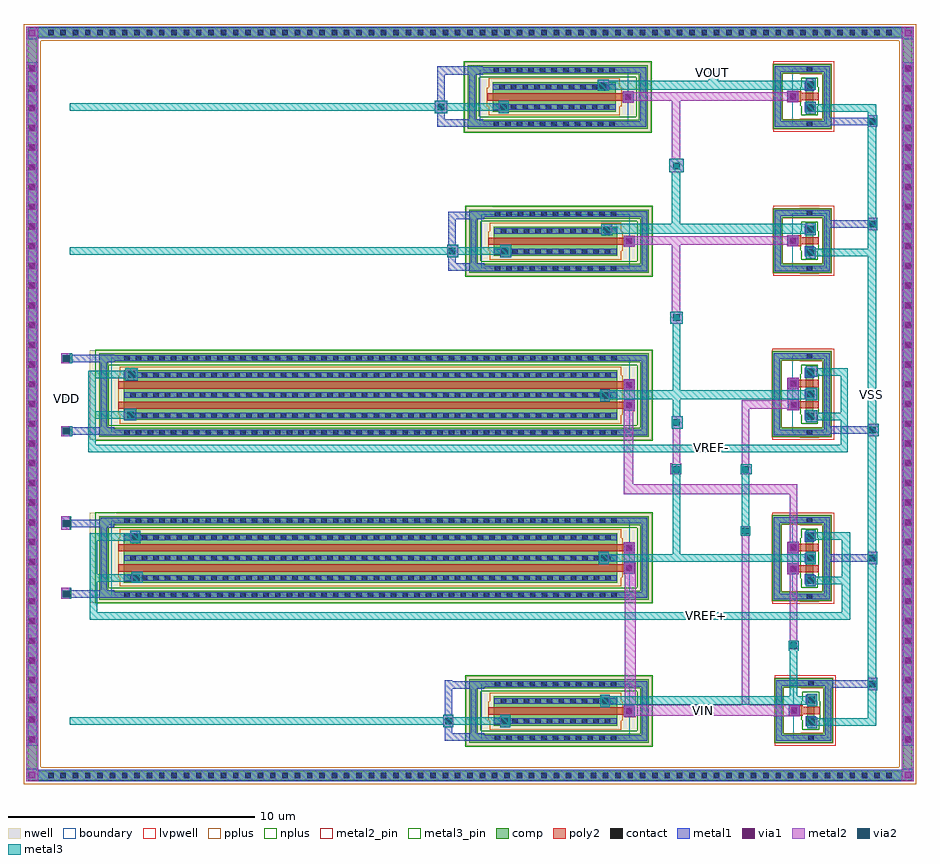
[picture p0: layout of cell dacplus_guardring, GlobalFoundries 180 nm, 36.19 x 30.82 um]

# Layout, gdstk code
import gdstk
lib = gdstk.Library(unit=1e-6, precision=5e-09)
def R(c, l, rs):  # rectangles x0, y0, x1, y1
    for r in rs: c.add(gdstk.rectangle(r[:2], r[2:], *l))
def A(c, l, x, y, w, h, nx, ny, dx, dy):  # array of equal rectangles
    R(c, l, [(x+i*dx, y+j*dy, x+i*dx+w, y+j*dy+h) for i in range(nx) for j in range(ny)])
def P(c, l, *ps):  # polygons
    for p in ps: c.add(gdstk.Polygon(p, *l))
boundary = (0, 0)
nwell = (21, 0)
comp = (22, 0)
poly2 = (30, 0)
pplus = (31, 0)
nplus = (32, 0)
contact = (33, 0)
metal1 = (34, 0)
via1 = (35, 0)
metal2 = (36, 0)
metal2_pin = (36, 10)
via2 = (38, 0)
metal3 = (42, 0)
metal3_pin = (42, 10)
lvpwell = (204, 0)

dacplus_guardring = lib.new_cell('dacplus_guardring')
R(dacplus_guardring, boundary, [(564.305,61.465,570.325,63.665), (576.965,61.465,578.375,63.705), (576.915,67.215,578.325,70.315), (549.305,67.265,570.325,70.285), (549.305,73.865,570.325,76.885), (576.915,73.865,578.325,76.965), (564.305,80.515,570.325,82.715), (576.915,80.515,578.325,82.755), (564.255,86.365,570.275,88.565), (576.915,86.365,578.325,88.605)])
R(dacplus_guardring, nwell, [(563.71,61.16,564.75,63.975), (563.69,61.165,563.71,63.965), (564.75,61.165,571.225,63.965), (548.435,66.965,549.505,70.595), (549.505,66.965,571.225,70.585), (548.435,73.565,549.505,77.195), (549.505,73.565,571.225,77.185), (563.71,80.21,564.75,83.025), (563.69,80.215,563.71,83.015), (564.75,80.215,571.225,83.015), (563.66,86.06,564.7,88.875), (563.64,86.065,563.66,88.865), (564.7,86.065,571.175,88.865)])
A(dacplus_guardring, comp, 546.67, 59.765, 0.36, 0.36, 69, 2, 0.5, 30.14)
A(dacplus_guardring, comp, 545.915, 61.235, 0.36, 0.36, 1, 35, 0, 0.8)
A(dacplus_guardring, comp, 581.425, 61.235, 0.36, 0.36, 1, 35, 0, 0.8)
A(dacplus_guardring, comp, 577.44, 67.725, 0.03, 0.36, 1, 3, 0, 0.86)
A(dacplus_guardring, comp, 577.77, 67.725, 0.03, 0.36, 1, 3, 0, 0.86)
A(dacplus_guardring, comp, 577.44, 74.375, 0.03, 0.36, 1, 3, 0, 0.86)
A(dacplus_guardring, comp, 577.77, 74.375, 0.03, 0.36, 1, 3, 0, 0.86)
R(dacplus_guardring, comp, [(546.67,59.765,581.03,60.125), (545.915,61.235,546.275,88.795), (581.425,61.235,581.785,88.795), (563.81,61.285,564.17,63.845), (564.17,61.285,570.745,61.645), (570.745,61.285,571.105,63.845), (576.2,61.285,576.56,63.885), (576.56,61.285,578.195,61.645), (578.195,61.285,578.555,63.885), (564.815,61.975,569.815,63.155), (577.49,61.975,577.52,62.335), (577.52,61.975,577.82,63.195), (577.82,61.975,577.85,62.335), (577.49,62.835,577.52,63.195), (577.82,62.835,577.85,63.195), (564.17,63.485,570.745,63.845), (576.56,63.525,578.195,63.885), (576.11,67.035,576.47,70.495), (576.47,67.035,578.145,67.395), (578.145,67.035,578.505,70.495), (548.815,67.085,549.175,70.465), (549.175,67.085,570.745,67.445), (570.745,67.085,571.105,70.465), (577.47,67.725,577.77,69.805), (549.815,67.775,569.815,69.775), (549.175,70.105,570.745,70.465), (576.47,70.135,578.145,70.495), (548.815,73.685,549.175,77.065), (549.175,73.685,570.745,74.045), (570.745,73.685,571.105,77.065), (576.11,73.685,576.47,77.145), (576.47,73.685,578.145,74.045), (578.145,73.685,578.505,77.145), (549.815,74.375,569.815,76.375), (577.47,74.375,577.77,76.455), (549.175,76.705,570.745,77.065), (576.47,76.785,578.145,77.145), (563.81,80.335,564.17,82.895), (564.17,80.335,570.745,80.695), (570.745,80.335,571.105,82.895), (576.15,80.335,576.51,82.935), (576.51,80.335,578.145,80.695), (578.145,80.335,578.505,82.935), (564.815,81.025,569.815,82.205), (577.44,81.025,577.47,81.385), (577.47,81.025,577.77,82.245), (577.77,81.025,577.8,81.385), (577.44,81.885,577.47,82.245), (577.77,81.885,577.8,82.245), (564.17,82.535,570.745,82.895), (576.51,82.575,578.145,82.935), (563.76,86.185,564.12,88.745), (564.12,86.185,570.695,86.545), (570.695,86.185,571.055,88.745), (576.15,86.185,576.51,88.785), (576.51,86.185,578.145,86.545), (578.145,86.185,578.505,88.785), (564.765,86.875,569.765,88.055), (577.44,86.875,577.47,87.235), (577.47,86.875,577.77,88.095), (577.77,86.875,577.8,87.235), (577.44,87.735,577.47,88.095), (577.77,87.735,577.8,88.095), (564.12,88.385,570.695,88.745), (576.51,88.425,578.145,88.785), (546.67,89.905,581.03,90.265)])
P(dacplus_guardring, comp, [(545.915,59.765),(545.915,90.265),(581.785,90.265),(581.785,59.765),(581.425,59.765),(581.425,60.125),(581.425,89.905),(546.275,89.905),(546.275,60.125),(581.425,60.125),(581.425,59.765)])
R(dacplus_guardring, poly2, [(570.085,62.34,570.535,62.79), (576.78,62.37,577.335,62.8), (564.595,62.415,570.085,62.715), (577.335,62.435,578.04,62.735), (576.74,68.11,577.19,68.56), (570.08,68.14,570.53,68.59), (577.19,68.185,577.99,68.485), (549.595,68.215,570.08,68.515), (570.08,68.955,570.53,69.405), (576.74,68.97,577.19,69.42), (549.595,69.035,570.08,69.335), (577.19,69.045,577.99,69.345), (570.08,74.74,570.53,75.19), (576.74,74.76,577.19,75.21), (549.595,74.815,570.08,75.115), (577.19,74.835,577.99,75.135), (570.08,75.555,570.53,76.005), (576.74,75.62,577.19,76.07), (549.595,75.635,570.08,75.935), (577.19,75.695,577.99,75.995), (570.085,81.39,570.535,81.84), (576.73,81.42,577.285,81.85), (564.595,81.465,570.085,81.765), (577.285,81.485,577.99,81.785), (570.035,87.24,570.485,87.69), (576.73,87.27,577.285,87.7), (564.545,87.315,570.035,87.615), (577.285,87.335,577.99,87.635)])
R(dacplus_guardring, pplus, [(577.27,61.255,578.07,61.675), (576.18,61.265,576.58,63.905), (576.58,61.265,577.27,61.665), (578.07,61.265,578.175,61.675), (578.175,61.265,578.575,63.905), (564.655,61.815,569.975,63.315), (564.585,62.185,564.655,62.945), (569.975,62.185,570.045,62.945), (577.27,63.495,578.07,63.915), (578.07,63.495,578.175,63.905), (576.58,63.505,577.27,63.905), (577.22,67.005,578.02,67.425), (576.09,67.015,576.49,70.515), (576.49,67.015,577.22,67.415), (578.02,67.015,578.125,67.425), (578.125,67.015,578.525,70.515), (549.655,67.615,569.975,69.935), (549.585,67.985,549.655,69.565), (569.975,67.985,570.045,69.565), (577.22,70.105,578.02,70.525), (578.02,70.105,578.125,70.515), (576.49,70.115,577.22,70.515), (577.22,73.655,578.02,74.075), (576.09,73.665,576.49,77.165), (576.49,73.665,577.22,74.065), (578.02,73.665,578.125,74.075), (578.125,73.665,578.525,77.165), (549.655,74.215,569.975,76.535), (549.585,74.585,549.655,76.165), (569.975,74.585,570.045,76.165), (577.22,76.755,578.02,77.175), (578.02,76.755,578.125,77.165), (576.49,76.765,577.22,77.165), (577.22,80.305,578.02,80.725), (576.13,80.315,576.53,82.955), (576.53,80.315,577.22,80.715), (578.02,80.315,578.125,80.725), (578.125,80.315,578.525,82.955), (564.655,80.865,569.975,82.365), (564.585,81.235,564.655,81.995), (569.975,81.235,570.045,81.995), (577.22,82.545,578.02,82.965), (578.02,82.545,578.125,82.955), (576.53,82.555,577.22,82.955), (577.22,86.155,578.02,86.575), (576.13,86.165,576.53,88.805), (576.53,86.165,577.22,86.565), (578.02,86.165,578.125,86.575), (578.125,86.165,578.525,88.805), (564.605,86.715,569.925,88.215), (564.535,87.085,564.605,87.845), (569.925,87.085,569.995,87.845), (577.22,88.395,578.02,88.815), (578.02,88.395,578.125,88.805), (576.53,88.405,577.22,88.805)])
P(dacplus_guardring, pplus, [(545.755,59.605),(545.755,90.425),(581.945,90.425),(581.945,59.605),(581.265,59.605),(581.265,60.285),(581.265,89.745),(546.435,89.745),(546.435,60.285),(581.265,60.285),(581.265,59.605)])
R(dacplus_guardring, nplus, [(563.65,61.125,564.28,64.005), (564.28,61.125,570.635,61.755), (570.635,61.125,571.265,64.005), (577.33,61.815,578.01,63.355), (577.29,62.205,577.33,62.965), (578.01,62.205,578.05,62.965), (564.28,63.375,570.635,64.005), (548.655,66.925,549.195,70.625), (549.195,66.925,570.635,67.555), (570.635,66.925,571.265,70.625), (577.28,67.565,577.96,69.965), (577.24,67.955,577.28,69.575), (577.96,67.955,578,69.575), (549.195,69.995,570.635,70.625), (548.655,73.525,549.195,77.225), (549.195,73.525,570.635,74.155), (570.635,73.525,571.265,77.225), (577.28,74.215,577.96,76.615), (577.24,74.605,577.28,76.225), (577.96,74.605,578,76.225), (549.195,76.595,570.635,77.225), (563.65,80.175,564.28,83.055), (564.28,80.175,570.635,80.805), (570.635,80.175,571.265,83.055), (577.28,80.865,577.96,82.405), (577.24,81.255,577.28,82.015), (577.96,81.255,578,82.015), (564.28,82.425,570.635,83.055), (563.6,86.025,564.23,88.905), (564.23,86.025,570.585,86.655), (570.585,86.025,571.215,88.905), (577.28,86.715,577.96,88.255), (577.24,87.105,577.28,87.865), (577.96,87.105,578,87.865), (564.23,88.275,570.585,88.905)])
A(dacplus_guardring, contact, 546.74, 59.835, 0.22, 0.22, 69, 2, 0.5, 30.14)
A(dacplus_guardring, contact, 545.985, 61.305, 0.22, 0.22, 1, 35, 0, 0.8)
A(dacplus_guardring, contact, 581.495, 61.305, 0.22, 0.22, 1, 35, 0, 0.8)
A(dacplus_guardring, contact, 564.855, 61.355, 0.22, 0.22, 11, 2, 0.47, 2.2)
A(dacplus_guardring, contact, 565.09, 62.045, 0.22, 0.22, 10, 2, 0.47, 0.82)
A(dacplus_guardring, contact, 549.835, 67.155, 0.22, 0.22, 43, 2, 0.47, 3.02)
A(dacplus_guardring, contact, 577.51, 67.795, 0.22, 0.22, 1, 3, 0, 0.86)
A(dacplus_guardring, contact, 550.07, 67.845, 0.22, 0.22, 42, 3, 0.47, 0.82)
A(dacplus_guardring, contact, 549.835, 73.755, 0.22, 0.22, 43, 2, 0.47, 3.02)
A(dacplus_guardring, contact, 550.07, 74.445, 0.22, 0.22, 42, 3, 0.47, 0.82)
A(dacplus_guardring, contact, 577.51, 74.445, 0.22, 0.22, 1, 3, 0, 0.86)
A(dacplus_guardring, contact, 564.855, 80.405, 0.22, 0.22, 11, 2, 0.47, 2.2)
A(dacplus_guardring, contact, 565.09, 81.095, 0.22, 0.22, 10, 2, 0.47, 0.82)
A(dacplus_guardring, contact, 564.805, 86.255, 0.22, 0.22, 11, 2, 0.47, 2.2)
A(dacplus_guardring, contact, 565.04, 86.945, 0.22, 0.22, 10, 2, 0.47, 0.82)
R(dacplus_guardring, contact, [(577.56,61.355,577.78,61.575), (577.56,62.045,577.78,62.265), (570.19,62.455,570.41,62.675), (576.89,62.475,577.11,62.695), (577.56,62.905,577.78,63.125), (577.56,63.595,577.78,63.815), (577.51,67.105,577.73,67.325), (576.865,68.225,577.085,68.445), (570.19,68.255,570.41,68.475), (570.19,69.07,570.41,69.29), (576.865,69.085,577.085,69.305), (577.51,70.205,577.73,70.425), (577.51,73.755,577.73,73.975), (570.19,74.855,570.41,75.075), (576.865,74.875,577.085,75.095), (570.19,75.67,570.41,75.89), (576.865,75.735,577.085,75.955), (577.51,76.855,577.73,77.075), (577.51,80.405,577.73,80.625), (577.51,81.095,577.73,81.315), (570.19,81.505,570.41,81.725), (576.84,81.525,577.06,81.745), (577.51,81.955,577.73,82.175), (577.51,82.645,577.73,82.865), (577.51,86.255,577.73,86.475), (577.51,86.945,577.73,87.165), (570.14,87.355,570.36,87.575), (576.84,87.375,577.06,87.595), (577.51,87.805,577.73,88.025), (577.51,88.495,577.73,88.715)])
A(dacplus_guardring, metal1, 546.62, 59.715, 0.46, 0.46, 69, 2, 0.5, 30.14)
A(dacplus_guardring, metal1, 545.845, 61.165, 0.5, 0.5, 1, 35, 0, 0.8)
A(dacplus_guardring, metal1, 581.355, 61.165, 0.5, 0.5, 1, 35, 0, 0.8)
A(dacplus_guardring, metal1, 577.42, 67.705, 0.4, 0.4, 1, 3, 0, 0.86)
A(dacplus_guardring, metal1, 549.825, 67.84, 19.98, 0.23, 1, 3, 0, 0.82)
A(dacplus_guardring, metal1, 577.42, 74.355, 0.4, 0.4, 1, 3, 0, 0.86)
A(dacplus_guardring, metal1, 549.825, 74.44, 19.98, 0.23, 1, 3, 0, 0.82)
R(dacplus_guardring, metal1, [(545.845,59.715,546.345,60.215), (545.845,59.715,546.345,60.215), (545.845,59.715,546.275,60.175), (546.275,59.715,581.425,60.175), (581.355,59.715,581.855,60.215), (581.355,59.715,581.855,60.215), (581.425,59.715,581.855,60.175), (545.845,61.165,546.345,88.865), (581.355,61.165,581.855,88.865), (563.875,61.35,564.105,63.78), (564.105,61.35,570.81,61.58), (570.81,61.35,571.04,63.78), (576.265,61.35,576.495,63.82), (576.495,61.35,578.26,61.58), (578.26,61.35,578.49,63.82), (562.825,61.365,563.125,63.815), (563.125,61.365,564.425,61.665), (577.525,61.865,577.925,62.315), (562.775,61.915,562.825,62.415), (563.125,61.915,563.175,62.415), (565.075,61.915,565.475,62.415), (577.47,61.955,577.87,62.355), (564.825,62.04,569.805,62.27), (570.085,62.34,570.535,62.79), (576.77,62.36,577.22,62.81), (570.15,62.365,570.45,62.765), (576.85,62.385,577.15,62.785), (569.125,62.715,569.525,63.215), (577.525,62.765,577.925,63.265), (577.47,62.815,577.87,63.215), (564.825,62.86,569.805,63.09), (579.975,63.415,580.375,63.915), (563.125,63.465,564.425,63.765), (578.375,63.515,579.975,63.815), (564.105,63.55,570.81,63.78), (576.495,63.59,578.26,63.82), (576.175,67.1,576.405,70.43), (576.405,67.1,578.21,67.33), (578.21,67.1,578.44,70.43), (547.275,67.115,547.675,67.565), (548.88,67.15,549.11,70.4), (549.11,67.15,570.81,67.38), (570.81,67.15,571.04,70.4), (547.675,67.165,549.425,67.465), (577.475,67.615,577.875,68.065), (550.125,67.765,550.575,68.215), (576.74,68.11,577.19,68.56), (576.825,68.135,577.125,68.535), (570.08,68.14,570.53,68.59), (570.15,68.165,570.45,68.565), (569.075,68.515,569.475,69.015), (577.475,68.515,577.875,69.015), (579.975,68.515,580.375,69.015), (578.275,68.615,579.975,68.915), (570.08,68.955,570.53,69.405), (576.74,68.97,577.19,69.42), (570.15,68.98,570.45,69.38), (576.825,68.995,577.125,69.395), (550.075,69.365,550.475,69.865), (577.475,69.465,577.875,69.915), (547.275,69.915,547.675,70.465), (547.675,70.015,549.425,70.315), (549.11,70.17,570.81,70.4), (576.405,70.2,578.21,70.43), (547.275,73.715,547.725,74.115), (579.975,73.715,580.425,74.215), (548.88,73.75,549.11,77), (549.11,73.75,570.81,73.98), (570.81,73.75,571.04,77), (576.175,73.75,576.405,77.08), (576.405,73.75,578.21,73.98), (578.21,73.75,578.44,77.08), (547.725,73.765,549.425,74.065), (578.275,73.815,579.975,74.115), (577.475,74.265,577.925,74.765), (549.825,74.365,550.325,74.815), (570.08,74.74,570.53,75.19), (576.74,74.76,577.19,75.21), (570.15,74.765,570.45,75.165), (576.825,74.785,577.13,75.185), (569.125,75.115,569.525,75.615), (577.475,75.165,577.925,75.665), (570.08,75.555,570.53,76.005), (570.15,75.58,570.45,75.98), (576.74,75.62,577.19,76.07), (576.82,75.645,577.125,76.045), (549.875,75.965,550.375,76.465), (577.475,76.115,577.925,76.565), (547.275,76.665,547.725,77.065), (547.725,76.715,549.425,77.015), (549.11,76.77,570.81,77), (576.405,76.85,578.21,77.08), (563.875,80.4,564.105,82.83), (564.105,80.4,570.81,80.63), (570.81,80.4,571.04,82.83), (576.215,80.4,576.445,82.87), (576.445,80.4,578.21,80.63), (578.21,80.4,578.44,82.87), (562.975,80.415,563.275,82.815), (563.275,80.415,564.425,80.715), (577.475,80.915,577.875,81.365), (562.925,80.965,562.975,81.465), (563.275,80.965,563.375,81.465), (565.075,80.965,565.525,81.465), (577.42,81.005,577.82,81.405), (564.825,81.09,569.805,81.32), (570.085,81.39,570.535,81.84), (576.72,81.41,577.17,81.86), (570.15,81.415,570.45,81.815), (576.8,81.435,577.1,81.835), (569.175,81.865,569.625,82.315), (577.42,81.865,577.82,82.265), (577.475,81.865,577.875,82.365), (564.825,81.91,569.805,82.14), (579.975,82.065,580.375,82.565), (578.225,82.165,579.975,82.465), (563.275,82.515,564.425,82.815), (564.105,82.6,570.81,82.83), (576.445,82.64,578.21,82.87), (563.825,86.25,564.055,88.68), (564.055,86.25,570.76,86.48), (570.76,86.25,570.99,88.68), (576.215,86.25,576.445,88.72), (576.445,86.25,578.21,86.48), (578.21,86.25,578.44,88.72), (562.525,86.265,562.825,88.715), (562.825,86.265,564.375,86.565), (579.975,86.265,580.375,86.715), (578.325,86.315,579.975,86.615), (577.475,86.765,577.875,87.265), (562.425,86.815,562.525,87.315), (562.825,86.815,562.925,87.315), (565.025,86.815,565.425,87.315), (577.42,86.855,577.82,87.255), (564.775,86.94,569.755,87.17), (570.035,87.24,570.485,87.69), (576.72,87.26,577.17,87.71), (570.1,87.265,570.4,87.665), (576.8,87.285,577.105,87.685), (569.025,87.715,569.475,88.165), (577.42,87.715,577.82,88.115), (564.775,87.76,569.755,87.99), (577.475,87.765,577.875,88.215), (562.825,88.365,564.375,88.715), (564.055,88.45,570.76,88.68), (576.445,88.49,578.21,88.72), (545.845,89.815,546.345,90.315), (545.845,89.815,546.345,90.315), (581.355,89.815,581.855,90.315), (581.355,89.815,581.855,90.315), (545.845,89.855,546.275,90.315), (546.275,89.855,581.425,90.315), (581.425,89.855,581.855,90.315)])
A(dacplus_guardring, via1, 545.965, 61.285, 0.26, 0.26, 1, 35, 0, 0.8)
A(dacplus_guardring, via1, 581.475, 61.285, 0.26, 0.26, 1, 35, 0, 0.8)
A(dacplus_guardring, via1, 577.545, 67.735, 0.26, 0.26, 1, 3, 0, 0.9)
A(dacplus_guardring, via1, 577.545, 74.385, 0.26, 0.26, 1, 3, 0, 0.9)
R(dacplus_guardring, via1, [(545.965,59.835,546.225,60.095), (581.475,59.835,581.735,60.095), (577.595,61.985,577.855,62.245), (562.845,62.035,563.105,62.295), (565.145,62.035,565.405,62.295), (570.17,62.435,570.43,62.695), (576.87,62.455,577.13,62.715), (569.195,62.835,569.455,63.095), (577.595,62.885,577.855,63.145), (580.045,63.535,580.305,63.795), (547.345,67.185,547.605,67.445), (550.195,67.835,550.455,68.095), (576.845,68.205,577.105,68.465), (570.17,68.235,570.43,68.495), (569.145,68.635,569.405,68.895), (580.045,68.635,580.305,68.895), (570.17,69.05,570.43,69.31), (576.845,69.065,577.105,69.325), (550.145,69.485,550.405,69.745), (547.345,70.035,547.605,70.295), (547.345,73.785,547.605,74.045), (580.045,73.835,580.305,74.095), (549.945,74.435,550.205,74.695), (570.17,74.835,570.43,75.095), (576.85,74.855,577.11,75.115), (569.195,75.235,569.455,75.495), (570.17,75.65,570.43,75.91), (576.845,75.715,577.105,75.975), (549.995,76.085,550.255,76.345), (547.345,76.735,547.605,76.995), (577.545,81.035,577.805,81.295), (562.995,81.085,563.255,81.345), (565.145,81.085,565.405,81.345), (570.17,81.485,570.43,81.745), (576.82,81.505,577.08,81.765), (569.245,81.935,569.505,82.195), (577.545,81.985,577.805,82.245), (580.045,82.185,580.305,82.445), (580.045,86.335,580.305,86.595), (577.545,86.885,577.805,87.145), (562.545,86.935,562.805,87.195), (565.095,86.935,565.355,87.195), (570.12,87.335,570.38,87.595), (576.825,87.355,577.085,87.615), (569.095,87.785,569.355,88.045), (577.545,87.835,577.805,88.095), (545.965,89.935,546.225,90.195), (581.475,89.935,581.735,90.195)])
A(dacplus_guardring, metal2, 545.845, 61.165, 0.5, 0.5, 1, 35, 0, 0.8)
A(dacplus_guardring, metal2, 581.355, 61.165, 0.5, 0.5, 1, 35, 0, 0.8)
R(dacplus_guardring, metal2, [(545.845,59.715,546.345,60.215), (545.845,59.715,546.345,60.215), (545.845,59.715,546.345,60.125), (581.355,59.715,581.855,60.215), (581.355,59.715,581.855,60.215), (581.355,59.715,581.855,60.125), (545.845,60.125,546.345,89.905), (581.355,60.125,581.855,89.905), (577.525,61.865,577.925,62.315), (562.775,61.915,563.175,62.415), (565.075,61.915,565.475,62.415), (570.125,62.315,570.525,69.415), (570.525,62.315,570.575,68.615), (570.085,62.34,570.125,62.815), (576.165,62.36,576.225,62.815), (576.225,62.36,577.22,62.81), (570.075,62.365,570.085,62.815), (570.575,62.365,574.875,62.815), (574.875,62.365,575.175,70.065), (575.175,62.365,576.165,62.815), (569.125,62.715,569.525,63.215), (577.525,62.765,577.925,63.265), (579.975,63.415,580.375,63.915), (576.775,65.065,576.825,65.365), (576.825,65.065,577.125,71.765), (577.125,65.065,577.175,65.365), (547.275,67.115,547.675,67.565), (577.475,67.615,577.875,68.065), (550.125,67.765,550.575,68.215), (576.74,68.11,576.825,69.42), (577.125,68.11,577.175,69.42), (577.175,68.11,577.19,68.56), (570.075,68.115,570.125,69.415), (576.725,68.115,576.74,69.415), (569.075,68.515,569.475,69.015), (577.475,68.515,577.875,69.015), (579.975,68.515,580.375,69.015), (570.525,68.955,570.53,69.405), (577.175,68.97,577.19,69.42), (550.075,69.365,550.475,69.865), (577.475,69.465,577.875,69.915), (574.825,69.665,574.875,70.065), (575.175,69.665,575.225,70.065), (547.275,69.915,547.675,70.465), (570.075,71.365,570.475,76.015), (570.475,71.365,576.825,71.765), (571.975,72.165,572.075,72.615), (572.075,72.165,572.375,74.515), (572.375,72.165,572.425,72.615), (574.825,72.165,574.875,72.565), (574.875,72.165,575.175,75.165), (575.175,72.165,575.275,72.565), (547.275,73.715,547.725,74.115), (579.975,73.715,580.425,74.215), (572.025,74.015,572.075,74.515), (572.375,74.015,572.475,74.515), (577.475,74.265,577.925,74.765), (549.825,74.365,550.325,74.815), (570.475,74.715,570.525,76.015), (570.525,74.74,570.53,75.19), (576.74,74.76,577.175,76.075), (577.175,74.76,577.195,75.215), (576.725,74.765,576.735,76.065), (576.735,74.765,576.74,76.075), (575.175,74.815,576.725,75.165), (569.125,75.115,569.525,75.615), (577.475,75.165,577.925,75.665), (570.525,75.555,570.53,76.005), (577.175,75.62,577.19,76.075), (549.875,75.965,550.375,76.465), (577.475,76.115,577.925,76.565), (547.275,76.665,547.725,77.065), (571.975,78.265,572.025,78.765), (572.025,78.265,572.375,81.815), (572.375,78.265,572.475,78.765), (577.475,80.915,577.875,81.365), (562.925,80.965,563.375,81.465), (565.075,80.965,565.525,81.465), (570.085,81.39,570.535,81.84), (576.72,81.41,577.17,81.86), (570.535,81.465,572.025,81.815), (572.375,81.465,576.72,81.815), (569.175,81.865,569.625,82.315), (577.475,81.865,577.875,82.365), (579.975,82.065,580.375,82.565), (571.925,84.415,572.025,84.965), (572.025,84.415,572.375,87.665), (572.375,84.415,572.525,84.965), (579.975,86.265,580.375,86.715), (577.475,86.765,577.875,87.265), (562.425,86.815,562.925,87.315), (565.025,86.815,565.425,87.315), (570.035,87.24,570.485,87.69), (576.72,87.26,577.17,87.71), (570.485,87.315,572.025,87.665), (572.375,87.315,576.72,87.665), (569.025,87.715,569.475,88.165), (577.475,87.765,577.875,88.215), (545.845,89.815,546.345,90.315), (545.845,89.815,546.345,90.315), (581.355,89.815,581.855,90.315), (581.355,89.815,581.855,90.315), (545.845,89.905,546.345,90.315), (581.355,89.905,581.855,90.315)])
R(dacplus_guardring, metal2_pin, [(573.225,62.515,573.375,62.665)])
A(dacplus_guardring, via2, 577.545, 67.735, 0.26, 0.26, 1, 3, 0, 0.9)
A(dacplus_guardring, via2, 577.545, 74.385, 0.26, 0.26, 1, 3, 0, 0.9)
R(dacplus_guardring, via2, [(577.595,61.985,577.855,62.245), (562.845,62.035,563.105,62.295), (565.145,62.035,565.405,62.295), (569.195,62.835,569.455,63.095), (577.595,62.885,577.855,63.145), (580.045,63.535,580.305,63.795), (576.845,65.085,577.105,65.345), (547.345,67.185,547.605,67.445), (550.195,67.835,550.455,68.095), (569.145,68.635,569.405,68.895), (580.045,68.635,580.305,68.895), (550.145,69.485,550.405,69.745), (574.895,69.735,575.155,69.995), (547.345,70.035,547.605,70.295), (572.095,72.235,572.355,72.495), (574.895,72.235,575.155,72.495), (547.345,73.785,547.605,74.045), (580.045,73.835,580.305,74.095), (572.095,74.135,572.355,74.395), (549.945,74.435,550.205,74.695), (569.195,75.235,569.455,75.495), (549.995,76.085,550.255,76.345), (547.345,76.735,547.605,76.995), (572.095,78.385,572.355,78.645), (577.545,81.035,577.805,81.295), (562.995,81.085,563.255,81.345), (565.145,81.085,565.405,81.345), (569.245,81.935,569.505,82.195), (577.545,81.985,577.805,82.245), (580.045,82.185,580.305,82.445), (572.095,84.535,572.355,84.795), (580.045,86.335,580.305,86.595), (577.545,86.885,577.805,87.145), (562.545,86.935,562.805,87.195), (565.095,86.935,565.355,87.195), (569.095,87.785,569.355,88.045), (577.545,87.835,577.805,88.095)])
R(dacplus_guardring, metal3, [(577.525,61.865,577.925,62.315), (562.775,61.915,563.175,62.415), (565.075,61.915,565.475,62.415), (577.925,61.965,579.975,62.265), (579.975,61.965,580.325,87.165), (547.625,62.015,562.775,62.315), (563.175,62.015,565.075,62.315), (569.125,62.715,569.525,63.215), (577.525,62.765,577.925,63.265), (569.525,62.815,576.825,63.165), (576.825,62.815,577.125,65.415), (577.125,62.815,577.525,63.165), (580.325,63.415,580.375,63.915), (576.775,65.015,576.825,65.415), (577.125,65.015,577.175,65.415), (548.425,66.265,548.725,69.765), (548.725,66.265,578.925,66.565), (578.925,66.265,579.275,69.815), (547.625,67.115,547.675,67.565), (577.475,67.615,577.875,68.065), (577.875,67.715,578.925,68.015), (550.125,67.765,550.575,68.215), (548.725,67.815,550.125,68.115), (569.075,68.515,569.475,69.015), (577.475,68.515,577.875,69.015), (580.325,68.515,580.375,69.015), (569.475,68.615,572.075,68.915), (572.075,68.615,572.375,72.565), (572.375,68.615,577.475,68.915), (550.075,69.365,550.475,69.865), (548.725,69.465,550.075,69.765), (577.475,69.465,577.875,69.915), (577.875,69.515,578.925,69.815), (574.825,69.665,574.875,70.065), (574.875,69.665,575.175,72.565), (575.175,69.665,575.225,70.065), (547.625,69.915,547.675,70.465), (574.825,72.165,574.875,72.565), (575.175,72.165,575.275,72.565), (572.025,72.215,572.075,72.565), (572.375,72.215,572.425,72.565), (548.375,73.065,548.675,76.365), (548.675,73.065,578.875,73.365), (578.875,73.065,579.175,76.465), (547.625,73.715,547.725,74.115), (580.325,73.715,580.425,74.215), (572.025,74.015,572.075,74.515), (572.075,74.015,572.375,78.765), (572.375,74.015,572.475,74.515), (577.475,74.265,577.925,74.765), (549.825,74.365,550.325,74.815), (577.925,74.365,578.875,74.665), (548.675,74.415,549.825,74.715), (569.125,75.115,569.525,75.615), (577.475,75.165,577.925,75.665), (569.525,75.215,572.075,75.565), (572.375,75.215,577.475,75.565), (549.875,75.965,550.375,76.465), (548.675,76.065,549.875,76.365), (577.475,76.115,577.925,76.565), (577.925,76.165,578.875,76.465), (547.625,76.665,547.725,77.065), (571.975,78.265,572.075,78.765), (572.375,78.265,572.475,78.765), (577.475,80.915,577.875,81.365), (562.925,80.965,563.375,81.465), (565.075,80.965,565.525,81.465), (577.875,81.015,579.975,81.315), (547.625,81.065,562.925,81.365), (563.375,81.065,565.075,81.365), (569.175,81.865,569.625,82.315), (577.475,81.865,577.875,82.365), (569.625,81.915,572.025,82.315), (572.025,81.915,572.375,84.965), (572.375,81.915,577.475,82.315), (580.325,82.065,580.375,82.565), (571.925,84.415,572.025,84.965), (572.375,84.415,572.525,84.965), (580.325,86.265,580.375,86.715), (577.475,86.765,577.875,87.265), (562.425,86.815,562.925,87.315), (565.025,86.815,565.425,87.315), (577.875,86.865,579.975,87.165), (547.625,86.915,562.425,87.215), (562.925,86.915,565.025,87.215), (569.025,87.715,569.475,88.165), (569.475,87.765,573.525,88.115), (573.525,87.765,573.925,88.615), (573.925,87.765,577.475,88.115), (577.475,87.765,577.875,88.215)])
R(dacplus_guardring, metal3_pin, [(573.375,66.365,573.525,66.515), (573.575,73.165,573.725,73.315), (547.425,75.165,547.525,75.315), (580.075,75.315,580.225,75.465), (573.625,88.365,573.775,88.515)])
R(dacplus_guardring, lvpwell, [(576.2,61.165,577.22,64.005), (577.22,61.165,577.325,62.36), (577.325,61.165,578.675,64.005), (577.22,62.37,577.325,62.8), (577.22,62.81,577.325,64.005), (576.11,66.915,578.625,70.615), (576.11,73.565,578.625,77.265), (576.15,80.215,577.17,83.055), (577.17,80.215,577.275,81.41), (577.275,80.215,578.625,83.055), (577.17,81.42,577.275,81.85), (577.17,81.86,577.275,83.055), (576.15,86.065,577.17,88.905), (577.17,86.065,577.275,87.26), (577.275,86.065,578.625,88.905), (577.17,87.27,577.275,87.7), (577.17,87.71,577.275,88.905)])
dacplus_guardring.add(gdstk.Label('VIN', (573.3,62.59), layer=36, texttype=10))
dacplus_guardring.add(gdstk.Label('VSS', (580.15,75.39), layer=42, texttype=10))
dacplus_guardring.add(gdstk.Label('VREF-', (573.65,73.24), layer=42, texttype=10))
dacplus_guardring.add(gdstk.Label('VOUT', (573.7,88.44), layer=42, texttype=10))
dacplus_guardring.add(gdstk.Label('VREF+', (573.45,66.44), layer=42, texttype=10))
dacplus_guardring.add(gdstk.Label('VDD', (547.475,75.24), layer=42, texttype=10))

lib.write_gds('dacplus_guardring.gds')
